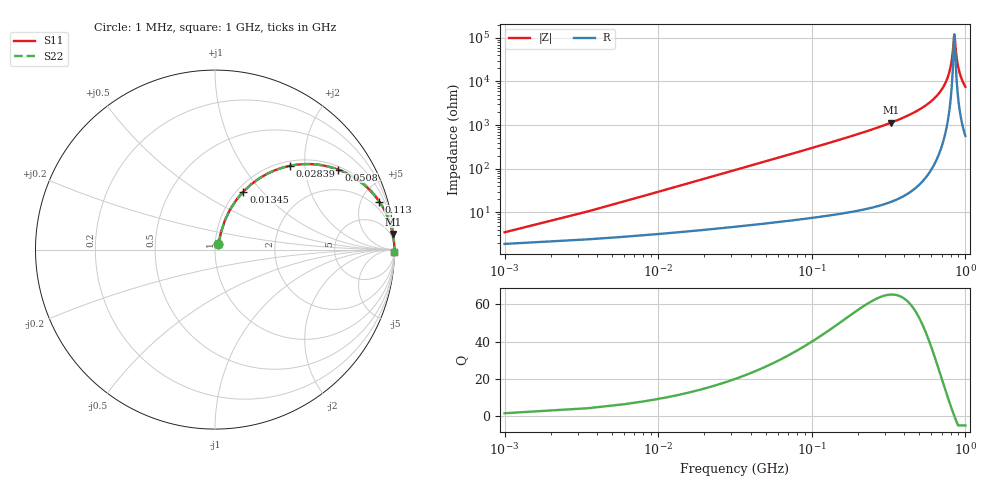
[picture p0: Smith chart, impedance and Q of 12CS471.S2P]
! Coilcraft 1206CS-471 Chip Inductor
! 29 July 2002
# MHZ S MA R 50
!Freq  MagS11  AngS11  MagS21  AngS21  MagS12  AngS12  MagS22  AngS22
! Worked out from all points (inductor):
!   403 points, 1 MHz to 1 GHz, reference 50 ohm
!   read as one part in series: L = 470 nH near 5.98 MHz
!   highest Q = 65.2 at 327.2 MHz (marker M1), where L = 552 nH
!   self-resonance near 847.6 MHz
!   S11 on the Smith chart (normalised r, x): 1 MHz: 1.04, +0.06; 13.45 MHz: 1.07, +0.79; 28.39 MHz: 1.09, +1.68; 50.8 MHz: 1.11, +3.01; 113 MHz: 1.16, +6.80; 1 GHz: open
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1  0.03446 55.6  0.9809 -1.7  0.9809 -1.7  0.03446 55.6
8.47  0.2376 69.4  0.943 -13.6  0.943 -13.6  0.2376 69.4
13.45  0.3597 64.0  0.9019 -21.0  0.9019 -21.0  0.3597 64.0
28.39  0.6271 48.2  0.746 -38.8  0.746 -38.8  0.6271 48.2
50.8  0.8192 32.9  0.5437 -54.9  0.5437 -54.9  0.8192 32.9
75.7  0.9043 23.6  0.4011 -64.7  0.4011 -64.7  0.9043 23.6
113.05  0.9533 16.3  0.2804 -72.4  0.2804 -72.4  0.9533 16.3
167.83  0.9783 10.9  0.1896 -78.0  0.1896 -78.0  0.9783 10.9
327.19  0.9948 5.0  0.08761 -84.1  0.08761 -84.1  0.9948 5.0
334.66  0.9951 4.9  0.08499 -84.2  0.08499 -84.2  0.9951 4.9
501.49  0.9982 2.5  0.04382 -86.4  0.04382 -86.4  0.9982 2.5
668.32  0.9991 1.1  0.01917 -86.7  0.01917 -86.7  0.9991 1.1
733.06  0.9992 0.7  0.01167 -85.6  0.01167 -85.6  0.9992 0.7
780.37  0.9992 0.4  0.006664 -82.8  0.006664 -82.8  0.9992 0.4
812.74  0.9992 0.2  0.003464 -76.3  0.003464 -76.3  0.9992 0.2
835.15  0.9992 0.1  0.001454 -55.3  0.001454 -55.3  0.9992 0.1
845.11  0.9992 0.0  0.0008718 -16.6  0.0008718 -16.6  0.9992 0.0
850.09  0.9992 -0.0  0.0008675 14.6  0.0008675 14.6  0.9992 -0.0
874.99  0.9991 -0.1  0.002666 71.0  0.002666 71.0  0.9991 -0.1
899.89  0.9991 -0.3  0.004846 79.2  0.004846 79.2  0.9991 -0.3
942.22  0.999 -0.5  0.008495 83.2  0.008495 83.2  0.999 -0.5
1000  0.9989 -0.8  0.01327 84.9  0.01327 84.9  0.9989 -0.8
